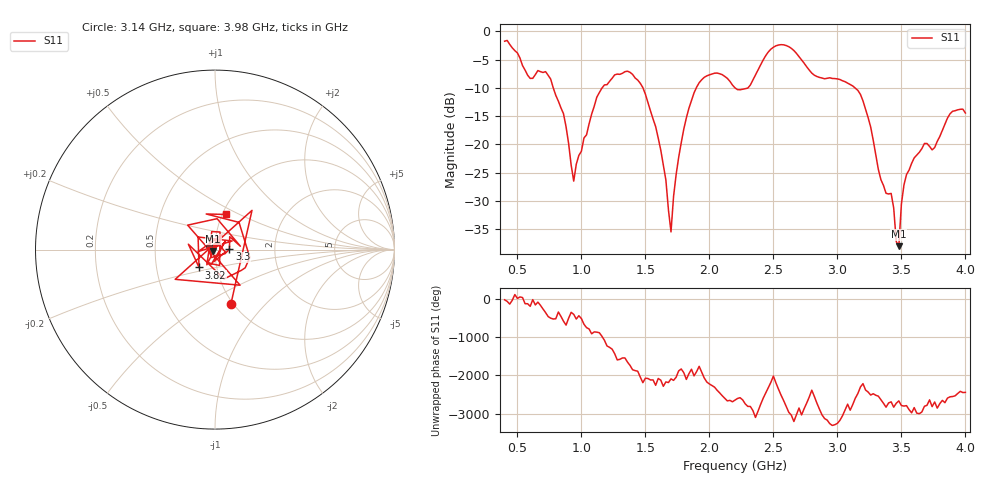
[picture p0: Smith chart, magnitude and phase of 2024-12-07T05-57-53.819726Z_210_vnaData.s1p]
!Created with skrf (http://scikit-rf.org).
# Hz S RI R 50.0
!freq ReS11 ImS11
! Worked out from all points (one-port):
!   181 points, 400 MHz to 4 GHz, reference 50 ohm
!   lowest |S11| = -38.0 dB at 3.48 GHz (marker M1), VSWR 1.03, Z = 49 - j0.702 ohm
!   |S11| at or under -10 dB: 780 MHz to 1.162 GHz (381.9 MHz wide, 39.3 % of centre); 1.481 GHz to 1.898 GHz (416.7 MHz wide, 24.7 % of centre); 3.138 GHz to end of sweep (the widest 3 of 4)
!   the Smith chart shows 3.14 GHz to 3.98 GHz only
!   S11 on the Smith chart (normalised r, x): 3.14 GHz: 0.98, -0.66; 3.3 GHz: 1.18, +0.01; 3.82 GHz: 0.82, -0.17; 3.98 GHz: 1.04, +0.43
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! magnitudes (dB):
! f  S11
! 400 MHz  -1.8
! 600 MHz  -8.3
! 720 MHz  -7.1
! 860 MHz  -14.6
! 940 MHz  -26.5
! 1.12 GHz  -11.7
! 1.3 GHz  -7.6
! 1.5 GHz  -11.1
! 1.62 GHz  -21.0
! 1.7 GHz  -35.5
! 1.76 GHz  -22.3
! 1.92 GHz  -9.1
! 2.2 GHz  -10.0
! 2.3 GHz  -10.0
! 2.5 GHz  -2.8
! 2.66 GHz  -3.4
! 3.1 GHz  -9.4
! 3.14 GHz  -10.0
! 3.3 GHz  -21.9
! 3.38 GHz  -28.6
! 3.42 GHz  -28.7
! 3.46 GHz  -37.2
! 3.48 GHz  -38.0
! 3.52 GHz  -27.2
! 3.56 GHz  -24.5
! 3.82 GHz  -17.5
! 3.98 GHz  -13.8
! 4 GHz  -14.4
